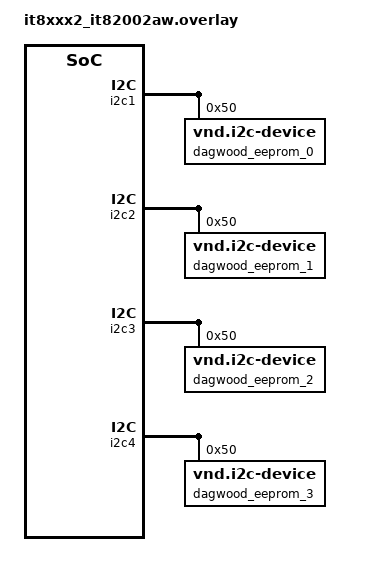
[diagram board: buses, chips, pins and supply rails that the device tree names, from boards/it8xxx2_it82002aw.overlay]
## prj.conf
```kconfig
# Copyright 2026 The ChromiumOS Authors
# Use of this source code is governed by a BSD-style license that can be
# found in the LICENSE file.

CONFIG_ZTEST=y
CONFIG_ZTEST_SHELL=y
CONFIG_SHELL_BACKEND_SERIAL=y

CONFIG_PICOLIBC=y

CONFIG_I2C=y
CONFIG_I2C_TRANSFER_TIMEOUT_MS=400
```

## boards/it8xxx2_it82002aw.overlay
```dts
/* Copyright 2026 The ChromiumOS Authors
 * Use of this source code is governed by a BSD-style license that can be
 * found in the LICENSE file.
 */

#include "../../../../program/ec-aic/ite-aic/project.overlay"

&i2c1 {
	scl-sda-low-timeout = <0>;
	zephyr,transfer-timeout-ms = <400>;
	dagwood_eeprom_0: dagwood-eeprom@50 {
		compatible = "vnd.i2c-device";
		reg = <0x50>;
	};
};

&i2c2 {
	scl-sda-low-timeout = <0>;
	zephyr,transfer-timeout-ms = <400>;
	dagwood_eeprom_1: dagwood-eeprom@50 {
		compatible = "vnd.i2c-device";
		reg = <0x50>;
	};
};

&i2c3 {
	scl-sda-low-timeout = <0>;
	zephyr,transfer-timeout-ms = <400>;
	dagwood_eeprom_2: dagwood-eeprom@50 {
		compatible = "vnd.i2c-device";
		reg = <0x50>;
	};
};

&i2c4 {
	scl-sda-low-timeout = <0>;
	zephyr,transfer-timeout-ms = <400>;
	dagwood_eeprom_3: dagwood-eeprom@50 {
		compatible = "vnd.i2c-device";
		reg = <0x50>;
	};
};
```

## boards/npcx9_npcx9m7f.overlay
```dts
/* Copyright 2026 The ChromiumOS Authors
 * Use of this source code is governed by a BSD-style license that can be
 * found in the LICENSE file.
 */

#include "../../../../program/ec-aic/npcx-aic/project.overlay"

&i2c0_0 {
	dagwood_eeprom_0: dagwood-eeprom@50 {
		compatible = "vnd.i2c-device";
		reg = <0x50>;
	};
};

&i2c7_0 {
	dagwood_eeprom_1: dagwood-eeprom@50 {
		compatible = "vnd.i2c-device";
		reg = <0x50>;
	};
};

&i2c1_0 {
	dagwood_eeprom_2: dagwood-eeprom@50 {
		compatible = "vnd.i2c-device";
		reg = <0x50>;
	};
};

&i2c2_0 {
	dagwood_eeprom_3: dagwood-eeprom@50 {
		compatible = "vnd.i2c-device";
		reg = <0x50>;
	};
};
```

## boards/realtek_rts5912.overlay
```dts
/* Copyright 2026 The ChromiumOS Authors
 * Use of this source code is governed by a BSD-style license that can be
 * found in the LICENSE file.
 */

#include "../../../../program/ec-aic/rtk-aic/project.overlay"

&i2c_3 {
	scl-timeout-value = <400>;
	sda-timeout-value = <400>;

	dagwood_eeprom_0: dagwood-eeprom@50 {
		compatible = "vnd.i2c-device";
		reg = <0x50>;
	};
};

&i2c_2 {
	scl-timeout-value = <400>;
	sda-timeout-value = <400>;

	dagwood_eeprom_1: dagwood-eeprom@50 {
		compatible = "vnd.i2c-device";
		reg = <0x50>;
	};
};

&i2c_5 {
	scl-timeout-value = <400>;
	sda-timeout-value = <400>;

	dagwood_eeprom_2: dagwood-eeprom@50 {
		compatible = "vnd.i2c-device";
		reg = <0x50>;
	};
};

&i2c_0 {
	scl-timeout-value = <400>;
	sda-timeout-value = <400>;

	dagwood_eeprom_3: dagwood-eeprom@50 {
		compatible = "vnd.i2c-device";
		reg = <0x50>;
	};
};
```

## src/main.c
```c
/*
 * Copyright 2026 The ChromiumOS Authors
 * Use of this source code is governed by a BSD-style license that can be
 * found in the LICENSE file.
 */

#include <zephyr/device.h>
#include <zephyr/drivers/i2c.h>
#include <zephyr/kernel.h>
#include <zephyr/logging/log.h>
#include <zephyr/ztest.h>

#define DAGWOOD_I2C_DEV DT_NODELABEL(dagwood_eeprom)

LOG_MODULE_REGISTER(aic_i2c);

#if DT_NODE_EXISTS(DT_NODELABEL(dagwood_eeprom_0))
DEVICE_DT_DEFINE(DT_NODELABEL(dagwood_eeprom_0), NULL, NULL, NULL, NULL,
		 POST_KERNEL, 90, 0);
#endif
#if DT_NODE_EXISTS(DT_NODELABEL(dagwood_eeprom_1))
DEVICE_DT_DEFINE(DT_NODELABEL(dagwood_eeprom_1), NULL, NULL, NULL, NULL,
		 POST_KERNEL, 90, 0);
#endif
#if DT_NODE_EXISTS(DT_NODELABEL(dagwood_eeprom_2))
DEVICE_DT_DEFINE(DT_NODELABEL(dagwood_eeprom_2), NULL, NULL, NULL, NULL,
		 POST_KERNEL, 90, 0);
#endif
#if DT_NODE_EXISTS(DT_NODELABEL(dagwood_eeprom_3))
DEVICE_DT_DEFINE(DT_NODELABEL(dagwood_eeprom_3), NULL, NULL, NULL, NULL,
		 POST_KERNEL, 90, 0);
#endif

struct aic_i2c_fixture {
	struct i2c_dt_spec eeprom[4];
};

static void *aic_i2c_setup(void)
{
	static struct aic_i2c_fixture fixture = {
#if DT_NODE_EXISTS(DT_NODELABEL(dagwood_eeprom_0))
		.eeprom[0] = I2C_DT_SPEC_GET(DT_NODELABEL(dagwood_eeprom_0)),
#endif
#if DT_NODE_EXISTS(DT_NODELABEL(dagwood_eeprom_1))
		.eeprom[1] = I2C_DT_SPEC_GET(DT_NODELABEL(dagwood_eeprom_1)),
#endif
#if DT_NODE_EXISTS(DT_NODELABEL(dagwood_eeprom_2))
		.eeprom[2] = I2C_DT_SPEC_GET(DT_NODELABEL(dagwood_eeprom_2)),
#endif
#if DT_NODE_EXISTS(DT_NODELABEL(dagwood_eeprom_3))
		.eeprom[3] = I2C_DT_SPEC_GET(DT_NODELABEL(dagwood_eeprom_3)),
#endif
	};

	return &fixture;
}

ZTEST_SUITE(aic_i2c, NULL, aic_i2c_setup, NULL, NULL, NULL);

/* Must match platform/dagwood/firmware/include/dagwood/i2c_target.h */
#define I2C_GOOD_OFFSET 24
#define I2C_STRETCH_50MS_OFFSET 0x30
#define I2C_STRETCH_100MS_OFFSET 0x40
#define I2C_STRETCH_500MS_OFFSET 0x50

static void test_i2c_read_write(const struct i2c_dt_spec *i2c_spec)
{
	uint8_t read_byte;
	uint8_t write_byte;
	uint32_t start_time;
	uint32_t elapsed_ms;

	LOG_INF("Dagwood eeprom %s:0x%02x", i2c_spec->bus->name,
		i2c_spec->addr);

	start_time = k_uptime_get_32();
	zassert_ok(i2c_reg_read_byte_dt(i2c_spec, I2C_GOOD_OFFSET, &read_byte));
	elapsed_ms = k_uptime_get_32() - start_time;
	LOG_INF("Initial read took %u ms", elapsed_ms);

	write_byte = ~read_byte;
	start_time = k_uptime_get_32();
	zassert_ok(
		i2c_reg_write_byte_dt(i2c_spec, I2C_GOOD_OFFSET, write_byte));
	elapsed_ms = k_uptime_get_32() - start_time;
	LOG_INF("Write took %u ms", elapsed_ms);

	start_time = k_uptime_get_32();
	zassert_ok(i2c_reg_read_byte_dt(i2c_spec, I2C_GOOD_OFFSET, &read_byte));
	elapsed_ms = k_uptime_get_32() - start_time;
	LOG_INF("Read back took %u ms", elapsed_ms);

	zassert_equal(read_byte, write_byte);

	LOG_INF("I2C Read modify write successful");
}

static void test_i2c_clock_stretch_50ms(const struct i2c_dt_spec *i2c_spec)
{
	uint8_t read_byte;
	uint8_t write_byte = 0x5a;
	uint32_t start_time;
	uint32_t elapsed_ms;

	LOG_INF("Testing 50ms clock stretch at offset 0x%02x",
		I2C_STRETCH_50MS_OFFSET);

	start_time = k_uptime_get_32();
	zassert_ok(i2c_reg_write_byte_dt(i2c_spec, I2C_STRETCH_50MS_OFFSET,
					 write_byte));
	elapsed_ms = k_uptime_get_32() - start_time;
	LOG_INF("Write to offset 0x%02x took %u ms", I2C_STRETCH_50MS_OFFSET,
		elapsed_ms);

	start_time = k_uptime_get_32();
	zassert_ok(i2c_reg_read_byte_dt(i2c_spec, I2C_STRETCH_50MS_OFFSET,
					&read_byte));
	elapsed_ms = k_uptime_get_32() - start_time;
	LOG_INF("50ms clock stretch read took %u ms", elapsed_ms);

	/* Allow a 10% under delay to account for clock difference between
	 * dagwood and the EC. Allow for 10% + 10ms over delay to account
	 * for any latency in the EC completing the I2C transaction.
	 */
	zassert_between_inclusive(
		elapsed_ms, 45, 60,
		"Read with 50ms stretch completed out of bounds: "
		"%u ms not between 45ms and 60ms",
		elapsed_ms);
	zassert_equal(read_byte, write_byte,
		      "Mismatch reading 50ms stretch offset");
}

static void test_i2c_clock_stretch_100ms(const struct i2c_dt_spec *i2c_spec)
{
	uint8_t read_byte;
	uint8_t write_byte = 0xa5;
	uint32_t start_time;
	uint32_t elapsed_ms;

	LOG_INF("Testing 100ms clock stretch at offset 0x%02x",
		I2C_STRETCH_100MS_OFFSET);

	start_time = k_uptime_get_32();
	zassert_ok(i2c_reg_write_byte_dt(i2c_spec, I2C_STRETCH_100MS_OFFSET,
					 write_byte));
	elapsed_ms = k_uptime_get_32() - start_time;
	LOG_INF("Write to offset 0x%02x took %u ms", I2C_STRETCH_100MS_OFFSET,
		elapsed_ms);

	start_time = k_uptime_get_32();
	zassert_ok(i2c_reg_read_byte_dt(i2c_spec, I2C_STRETCH_100MS_OFFSET,
					&read_byte));
	elapsed_ms = k_uptime_get_32() - start_time;
	LOG_INF("100ms clock stretch read took %u ms", elapsed_ms);

	/* Allow a 10% under delay to account for clock difference between
	 * dagwood and the EC. Allow for 10% + 10ms over delay to account
	 * for any latency in the EC completing the I2C transaction.
	 */
	zassert_between_inclusive(
		elapsed_ms, 90, 120,
		"Read with 100ms stretch completed out of bounds: "
		"%u ms not between 94ms and 115ms",
		elapsed_ms);
	zassert_equal(read_byte, write_byte,
		      "Mismatch reading 100ms stretch offset");
}

static void
test_i2c_clock_stretch_500ms_timeout(const struct i2c_dt_spec *i2c_spec)
{
	uint8_t read_byte;
	uint8_t write_byte = 0x3c;
	uint32_t start_time;
	uint32_t elapsed_ms;
	int ret;

	LOG_INF("Testing 500ms clock stretch timeout at offset 0x%02x",
		I2C_STRETCH_500MS_OFFSET);

	/* Write to memory succeeds normally without clock stretching */
	start_time = k_uptime_get_32();
	zassert_ok(i2c_reg_write_byte_dt(i2c_spec, I2C_STRETCH_500MS_OFFSET,
					 write_byte));
	elapsed_ms = k_uptime_get_32() - start_time;
	LOG_INF("Write to offset 0x%02x took %u ms", I2C_STRETCH_500MS_OFFSET,
		elapsed_ms);

	/* Reading from offset 0x50 causes a 500ms clock stretch, exceeding
	 * transfer timeout */
	start_time = k_uptime_get_32();
	ret = i2c_reg_read_byte_dt(i2c_spec, I2C_STRETCH_500MS_OFFSET,
				   &read_byte);
	elapsed_ms = k_uptime_get_32() - start_time;
	LOG_INF("500ms clock stretch read returned %d (expected error), took %u ms",
		ret, elapsed_ms);
	zassert_not_equal(
		ret, 0,
		"Expected read to fail due to timeout on 500ms stretch, got %d",
		ret);

	/* For this test, the EC I2C controller should configure a timeout of
	 * at least 400ms.
	 */
	zassert_true(
		elapsed_ms >= 350,
		"Timeout transaction completed too quickly: %u ms < 350 ms",
		elapsed_ms);

	/* Make sure the target device clock stretch has expired. */
	k_msleep(500);

	/* Verify controller recovers after timeout and can perform normal
	 * transfers */
	start_time = k_uptime_get_32();
	zassert_ok(i2c_reg_read_byte_dt(i2c_spec, I2C_GOOD_OFFSET, &read_byte),
		   "Controller failed to recover after clock stretch timeout");
	elapsed_ms = k_uptime_get_32() - start_time;
	LOG_INF("Recovery read took %u ms", elapsed_ms);
}

static void test_i2c_port(const struct i2c_dt_spec *i2c_spec)
{
	zassert_not_null(i2c_spec->bus, "I2C bus device is NULL");
	zassert_true(device_is_ready(i2c_spec->bus),
		     "I2C bus device %s is not ready", i2c_spec->bus->name);

	test_i2c_read_write(i2c_spec);
	test_i2c_clock_stretch_50ms(i2c_spec);
	test_i2c_clock_stretch_100ms(i2c_spec);
	test_i2c_clock_stretch_500ms_timeout(i2c_spec);
}

ZTEST_F(aic_i2c, test_i2c_port0)
{
#if DT_NODE_EXISTS(DT_NODELABEL(dagwood_eeprom_0))
	test_i2c_port(&fixture->eeprom[0]);
#else
	ztest_test_skip();
#endif
}

ZTEST_F(aic_i2c, test_i2c_port1)
{
#if DT_NODE_EXISTS(DT_NODELABEL(dagwood_eeprom_1))
	test_i2c_port(&fixture->eeprom[1]);
#else
	ztest_test_skip();
#endif
}

ZTEST_F(aic_i2c, test_i2c_port2)
{
#if DT_NODE_EXISTS(DT_NODELABEL(dagwood_eeprom_2))
	test_i2c_port(&fixture->eeprom[2]);
#else
	ztest_test_skip();
#endif
}

ZTEST_F(aic_i2c, test_i2c_port3)
{
#if DT_NODE_EXISTS(DT_NODELABEL(dagwood_eeprom_3))
	test_i2c_port(&fixture->eeprom[3]);
#else
	ztest_test_skip();
#endif
}
```
